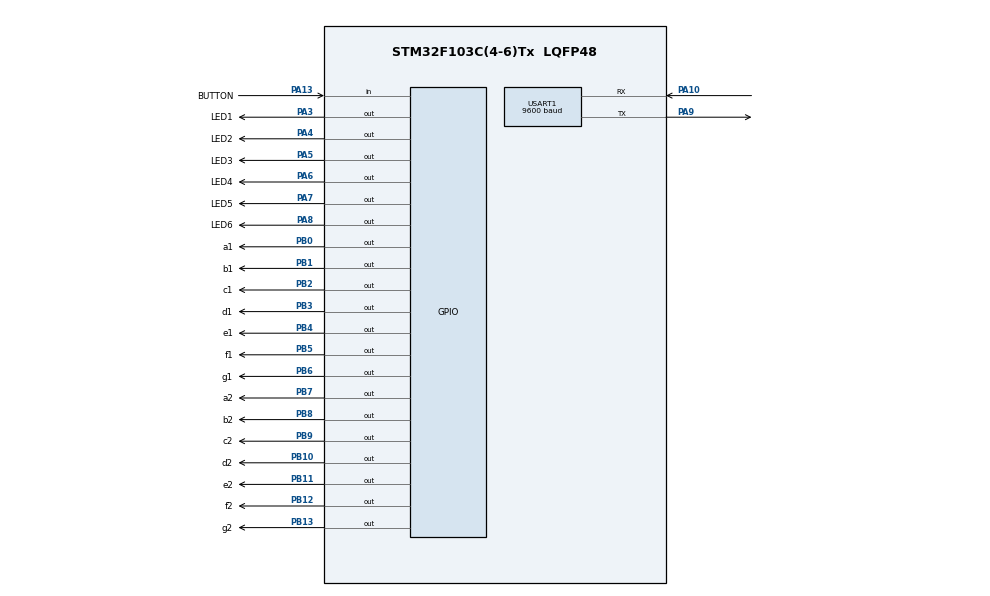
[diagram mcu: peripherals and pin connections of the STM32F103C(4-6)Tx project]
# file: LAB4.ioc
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Mcu.Family=STM32F1
Mcu.Name=STM32F103C(4-6)Tx
Mcu.Package=LQFP48
NVIC.PriorityGroup=NVIC_PRIORITYGROUP_4
NVIC.TIM2_IRQn=true\:0\:0\:false\:false\:true\:true\:true\:true
PA10.Mode=Asynchronous
PA10.Signal=USART1_RX
PA13.GPIO_Label=BUTTON
PA13.GPIO_PuPd=GPIO_PULLUP
PA13.Signal=GPIO_Input
PA3.GPIO_Label=LED1
PA3.Signal=GPIO_Output
PA4.GPIO_Label=LED2
PA4.Signal=GPIO_Output
PA5.GPIO_Label=LED3
PA5.Signal=GPIO_Output
PA6.GPIO_Label=LED4
PA6.Signal=GPIO_Output
PA7.GPIO_Label=LED5
PA7.Signal=GPIO_Output
PA8.GPIO_Label=LED6
PA8.Signal=GPIO_Output
PA9.Mode=Asynchronous
PA9.Signal=USART1_TX
PB0.GPIO_Label=a1
PB0.Signal=GPIO_Output
PB1.GPIO_Label=b1
PB1.Signal=GPIO_Output
PB10.GPIO_Label=d2
PB10.Signal=GPIO_Output
PB11.GPIO_Label=e2
PB11.Signal=GPIO_Output
PB12.GPIO_Label=f2
PB12.Signal=GPIO_Output
PB13.GPIO_Label=g2
PB13.Signal=GPIO_Output
PB2.GPIO_Label=c1
PB2.Signal=GPIO_Output
PB3.GPIO_Label=d1
PB3.Signal=GPIO_Output
PB4.GPIO_Label=e1
PB4.Signal=GPIO_Output
PB5.GPIO_Label=f1
PB5.Signal=GPIO_Output
PB6.GPIO_Label=g1
PB6.Signal=GPIO_Output
PB7.GPIO_Label=a2
PB7.Signal=GPIO_Output
PB8.GPIO_Label=b2
PB8.Signal=GPIO_Output
PB9.GPIO_Label=c2
PB9.Signal=GPIO_Output
ProjectManager.HeapSize=0x200
ProjectManager.StackSize=0x400
ProjectManager.TargetToolchain=STM32CubeIDE
RCC.APB1Freq_Value=8000000
RCC.APB2Freq_Value=8000000
TIM2.Period=10
TIM2.Prescaler=8000
USART1.BaudRate=9600
USART1.VirtualMode=VM_ASYNC
VP_TIM2_VS_ClockSourceINT.Mode=Internal
board=custom

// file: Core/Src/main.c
/* USER CODE BEGIN Header */
/**
  ******************************************************************************
  * @file           : main.c
  * @brief          : Main program body
  ******************************************************************************
  * @attention
  *
  * Copyright (c) 2022 STMicroelectronics.
  * All rights reserved.
  *
  * This software is licensed under terms that can be found in the LICENSE file
  * in the root directory of this software component.
  * If no LICENSE file comes with this software, it is provided AS-IS.
  *
  ******************************************************************************
  */
/* USER CODE END Header */
#include "main.h"

/* USER CODE BEGIN Includes */
#include "scheduler.h"
#include "tasks.h"
#include "led.h"
#include "stm32f1xx_hal.h"
#include "software_timer.h"
/* USER CODE END Includes */

TIM_HandleTypeDef htim2;

UART_HandleTypeDef huart1;

void SystemClock_Config(void);
static void MX_GPIO_Init(void);
static void MX_TIM2_Init(void);
static void MX_USART1_UART_Init(void);

int main(void)
{

  /* MCU Configuration--------------------------------------------------------*/

  /* Reset of all peripherals, Initializes the Flash interface and the Systick. */
  HAL_Init();

  /* Configure the system clock */
  SystemClock_Config();

  /* Initialize all configured peripherals */
  MX_GPIO_Init();
  MX_TIM2_Init();
  MX_USART1_UART_Init();
  /* USER CODE BEGIN 2 */
  HAL_TIM_Base_Start_IT(&htim2);

  HAL_UART_Transmit(&huart1, (uint8_t *)time, sizeof(time), 100);
  /* USER CODE END 2 */

  /* Infinite loop */
  /* USER CODE BEGIN WHILE */
  set_timer(TIME);
  turn_off_all_7seg();
  SCH_init();
  init_tasks();
//  SCH_delete_task(3);
//  SCH_delete_task(2);
//  SCH_delete_task(1);
//  SCH_delete_task(4);
//  SCH_delete_task(5);
//  SCH_delete_task(0);
//  SCH_delete_task(6);
  while (1)
  {
	  SCH_dispatch_tasks();
    /* USER CODE END WHILE */

  }
}

void SystemClock_Config(void)
{
  RCC_OscInitTypeDef RCC_OscInitStruct = {0};
  RCC_ClkInitTypeDef RCC_ClkInitStruct = {0};

  /** Initializes the RCC Oscillators according to the specified parameters
  * in the RCC_OscInitTypeDef structure.
  */
  RCC_OscInitStruct.OscillatorType = RCC_OSCILLATORTYPE_HSI;
  RCC_OscInitStruct.HSIState = RCC_HSI_ON;
  RCC_OscInitStruct.HSICalibrationValue = RCC_HSICALIBRATION_DEFAULT;
  RCC_OscInitStruct.PLL.PLLState = RCC_PLL_NONE;
  if (HAL_RCC_OscConfig(&RCC_OscInitStruct) != HAL_OK)
  {
    Error_Handler();
  }

  /** Initializes the CPU, AHB and APB buses clocks
  */
  RCC_ClkInitStruct.ClockType = RCC_CLOCKTYPE_HCLK|RCC_CLOCKTYPE_SYSCLK
                              |RCC_CLOCKTYPE_PCLK1|RCC_CLOCKTYPE_PCLK2;
  RCC_ClkInitStruct.SYSCLKSource = RCC_SYSCLKSOURCE_HSI;
  RCC_ClkInitStruct.AHBCLKDivider = RCC_SYSCLK_DIV1;
  RCC_ClkInitStruct.APB1CLKDivider = RCC_HCLK_DIV1;
  RCC_ClkInitStruct.APB2CLKDivider = RCC_HCLK_DIV1;

  if (HAL_RCC_ClockConfig(&RCC_ClkInitStruct, FLASH_LATENCY_0) != HAL_OK)
  {
    Error_Handler();
  }
}

static void MX_TIM2_Init(void)
{

  TIM_ClockConfigTypeDef sClockSourceConfig = {0};
  TIM_MasterConfigTypeDef sMasterConfig = {0};

  htim2.Instance = TIM2;
  htim2.Init.Prescaler = 8000;
  htim2.Init.CounterMode = TIM_COUNTERMODE_UP;
  htim2.Init.Period = 10;
  htim2.Init.ClockDivision = TIM_CLOCKDIVISION_DIV1;
  htim2.Init.AutoReloadPreload = TIM_AUTORELOAD_PRELOAD_DISABLE;
  if (HAL_TIM_Base_Init(&htim2) != HAL_OK)
  {
    Error_Handler();
  }
  sClockSourceConfig.ClockSource = TIM_CLOCKSOURCE_INTERNAL;
  if (HAL_TIM_ConfigClockSource(&htim2, &sClockSourceConfig) != HAL_OK)
  {
    Error_Handler();
  }
  sMasterConfig.MasterOutputTrigger = TIM_TRGO_RESET;
  sMasterConfig.MasterSlaveMode = TIM_MASTERSLAVEMODE_DISABLE;
  if (HAL_TIMEx_MasterConfigSynchronization(&htim2, &sMasterConfig) != HAL_OK)
  {
    Error_Handler();
  }

}

static void MX_USART1_UART_Init(void)
{

  huart1.Instance = USART1;
  huart1.Init.BaudRate = 9600;
  huart1.Init.WordLength = UART_WORDLENGTH_8B;
  huart1.Init.StopBits = UART_STOPBITS_1;
  huart1.Init.Parity = UART_PARITY_NONE;
  huart1.Init.Mode = UART_MODE_TX_RX;
  huart1.Init.HwFlowCtl = UART_HWCONTROL_NONE;
  huart1.Init.OverSampling = UART_OVERSAMPLING_16;
  if (HAL_UART_Init(&huart1) != HAL_OK)
  {
    Error_Handler();
  }

}

static void MX_GPIO_Init(void)
{
  GPIO_InitTypeDef GPIO_InitStruct = {0};

  /* GPIO Ports Clock Enable */
  __HAL_RCC_GPIOA_CLK_ENABLE();
  __HAL_RCC_GPIOB_CLK_ENABLE();

  /*Configure GPIO pin Output Level */
  HAL_GPIO_WritePin(GPIOA, LED1_Pin|LED2_Pin|LED3_Pin|LED4_Pin
                          |LED5_Pin|LED6_Pin, GPIO_PIN_RESET);

  /*Configure GPIO pin Output Level */
  HAL_GPIO_WritePin(GPIOB, a1_Pin|b1_Pin|c1_Pin|d2_Pin
                          |e2_Pin|f2_Pin|g2_Pin|d1_Pin
                          |e1_Pin|f1_Pin|g1_Pin|a2_Pin
                          |b2_Pin|c2_Pin, GPIO_PIN_RESET);

  /*Configure GPIO pins : LED1_Pin LED2_Pin LED3_Pin LED4_Pin
                           LED5_Pin LED6_Pin */
  GPIO_InitStruct.Pin = LED1_Pin|LED2_Pin|LED3_Pin|LED4_Pin
                          |LED5_Pin|LED6_Pin;
  GPIO_InitStruct.Mode = GPIO_MODE_OUTPUT_PP;
  GPIO_InitStruct.Pull = GPIO_NOPULL;
  GPIO_InitStruct.Speed = GPIO_SPEED_FREQ_LOW;
  HAL_GPIO_Init(GPIOA, &GPIO_InitStruct);

  /*Configure GPIO pins : a1_Pin b1_Pin c1_Pin d2_Pin
                           e2_Pin f2_Pin g2_Pin d1_Pin
                           e1_Pin f1_Pin g1_Pin a2_Pin
                           b2_Pin c2_Pin */
  GPIO_InitStruct.Pin = a1_Pin|b1_Pin|c1_Pin|d2_Pin
                          |e2_Pin|f2_Pin|g2_Pin|d1_Pin
                          |e1_Pin|f1_Pin|g1_Pin|a2_Pin
                          |b2_Pin|c2_Pin;
  GPIO_InitStruct.Mode = GPIO_MODE_OUTPUT_PP;
  GPIO_InitStruct.Pull = GPIO_NOPULL;
  GPIO_InitStruct.Speed = GPIO_SPEED_FREQ_LOW;
  HAL_GPIO_Init(GPIOB, &GPIO_InitStruct);

  /*Configure GPIO pin : BUTTON_Pin */
  GPIO_InitStruct.Pin = BUTTON_Pin;
  GPIO_InitStruct.Mode = GPIO_MODE_INPUT;
  GPIO_InitStruct.Pull = GPIO_PULLUP;
  HAL_GPIO_Init(BUTTON_GPIO_Port, &GPIO_InitStruct);

}

/* USER CODE BEGIN 4 */
void HAL_TIM_PeriodElapsedCallback(TIM_HandleTypeDef *htim ) {
	timer_run();
	if (timerFlag==1) {
		SCH_update();
		char buffer[5];
		sprintf(buffer, "%u \n", (unsigned int)(time));
		HAL_UART_Transmit(&huart1, (uint8_t *)buffer, sizeof(buffer), 100);
		set_timer(TIME);
	}
}
/* USER CODE END 4 */

void Error_Handler(void)
{
  __disable_irq();
  while (1)
  {
  }
}
